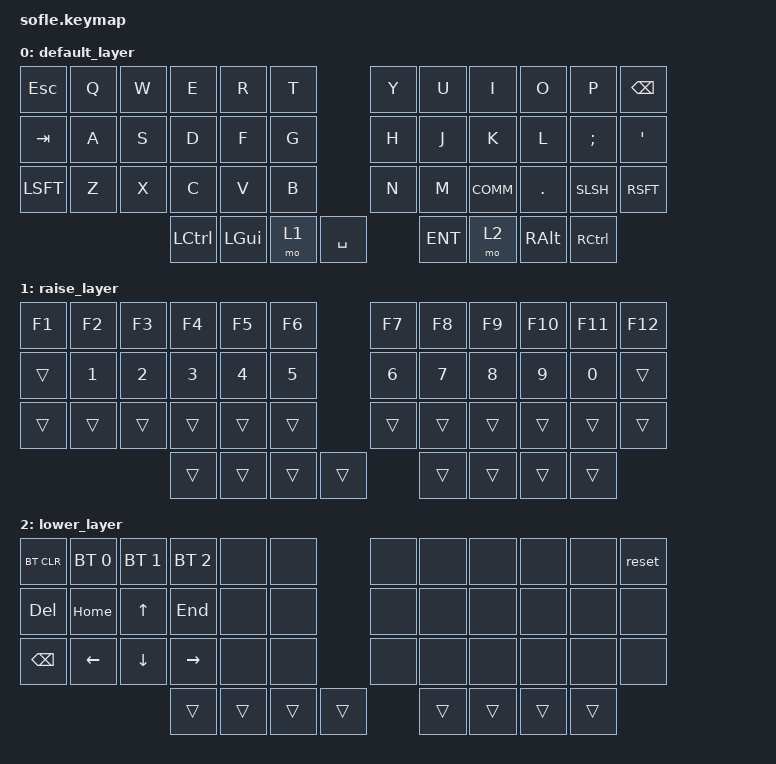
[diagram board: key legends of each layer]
#include <behaviors.dtsi>
#include <dt-bindings/zmk/keys.h>
#include <dt-bindings/zmk/bt.h>

/ {
    chosen {
        zmk,matrix_transform = &sofle_transform;
    };

    oled_display: oled_display {
        compatible = "solmon,oled";
        status = "okay";
        format = "  SOFLE\nLAYER: %d\nBAT: %d%%  |  %s\nWPM: %d";
    };

    keymap {
        compatible = "zmk,keymap";

        default_layer {
            bindings = <
&kp ESC  &kp Q &kp W &kp E &kp R &kp T          &kp Y &kp U &kp I &kp O &kp P &kp BSPC
&kp TAB  &kp A &kp S &kp D &kp F &kp G          &kp H &kp J &kp K &kp L &kp SEMI &kp QUOT
&kp LSFT &kp Z &kp X &kp C &kp V &kp B          &kp N &kp M &kp COMM &kp DOT &kp SLSH &kp RSFT
                   &kp LCTL &kp LGUI &mo 1 &kp SPC  &kp ENT &mo 2 &kp RALT &kp RCTL
            >;
        };

        raise_layer {
            bindings = <
&kp F1  &kp F2  &kp F3  &kp F4  &kp F5  &kp F6      &kp F7  &kp F8  &kp F9  &kp F10 &kp F11 &kp F12
&trans  &kp 1   &kp 2   &kp 3   &kp 4   &kp 5       &kp 6   &kp 7   &kp 8   &kp 9   &kp 0   &trans
&trans  &trans  &trans  &trans  &trans  &trans      &trans  &trans  &trans  &trans  &trans  &trans
                   &trans &trans &trans &trans      &trans &trans &trans &trans
            >;
        };

        lower_layer {
            bindings = <
&bt BT_CLR &bt BT_SEL 0 &bt BT_SEL 1 &bt BT_SEL 2 &none &none   &none &none &none &none &none &reset
&kp DEL    &kp HOME     &kp UP       &kp END      &none &none   &none &none &none &none &none &none
&kp BSPC   &kp LEFT     &kp DOWN     &kp RIGHT    &none &none   &none &none &none &none &none &none
                      &trans &trans &trans &trans  &trans &trans &trans &trans
            >;
        };
    };
};
